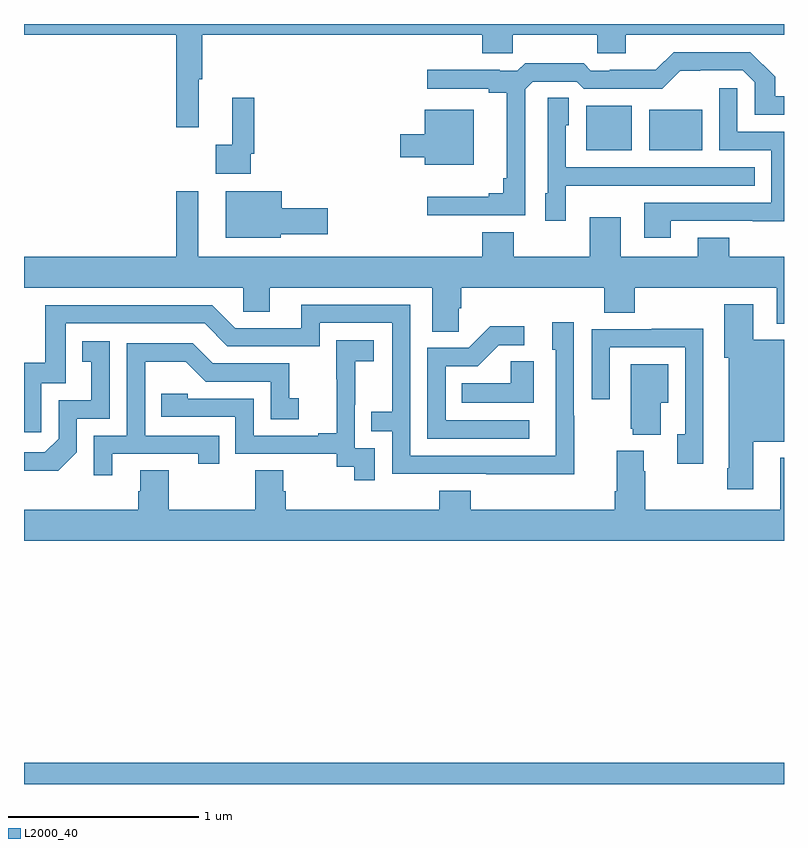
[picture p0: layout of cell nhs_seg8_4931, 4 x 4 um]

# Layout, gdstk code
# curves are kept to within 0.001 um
import gdstk
lib = gdstk.Library(unit=1e-6, precision=1e-09)
def R(c, l, rs):  # rectangles x0, y0, x1, y1
    for r in rs: c.add(gdstk.rectangle(r[:2], r[2:], *l))
def P(c, l, *ps):  # polygons
    for p in ps: c.add(gdstk.Polygon(p, *l))
L2000_40 = (2000, 40)

nhs_seg8_4931 = lib.new_cell('nhs_seg8_4931')
R(nhs_seg8_4931, L2000_40, [(409,1101.9,413,1102.012), (411.959,1105.235,412.198,1105.471), (412.292,1105.235,412.57,1105.45)])
P(nhs_seg8_4931, L2000_40, [(409.919,1105.608),(409.937,1105.608),(409.937,1105.844),(411.413,1105.844),(411.413,1105.746),(411.573,1105.746),(411.573,1105.844),(412.018,1105.844),(412.018,1105.746),(412.168,1105.746),(412.168,1105.844),(413,1105.844),(413,1105.9),(409,1105.9),(409,1105.844),(409.801,1105.844),(409.801,1105.356),(409.919,1105.356)],
  [(411.639,1105.557),(411.678,1105.596),(411.909,1105.596),(411.945,1105.56),(412.359,1105.56),(412.454,1105.655),(412.782,1105.656),(412.845,1105.593),(412.845,1105.422),(413,1105.422),(413,1105.519),(412.953,1105.519),(412.953,1105.622),(412.822,1105.752),(412.419,1105.752),(412.325,1105.658),(412.084,1105.658),(412.084,1105.653),(411.984,1105.653),(411.945,1105.693),(411.637,1105.693),(411.597,1105.653),(411.503,1105.653),(411.503,1105.658),(411.123,1105.658),(411.123,1105.56),(411.446,1105.56),(411.446,1105.538),(411.542,1105.538),(411.542,1105.087),(411.523,1105.087),(411.523,1105.01),(411.446,1105.01),(411.446,1104.991),(411.123,1104.991),(411.123,1104.894),(411.639,1104.894)],
  [(412.405,1104.864),(412.835,1104.864),(412.835,1104.863),(413,1104.863),(413,1105.332),(412.755,1105.332),(412.755,1105.561),(412.659,1105.561),(412.659,1105.236),(412.932,1105.236),(412.932,1104.96),(412.265,1104.96),(412.265,1104.774),(412.405,1104.774)],
  [(410.193,1105.216),(410.213,1105.216),(410.213,1105.513),(410.096,1105.513),(410.096,1105.265),(410.01,1105.265),(410.01,1105.112),(410.193,1105.112)],
  [(411.852,1105.049),(412.169,1105.049),(412.169,1105.05),(412.847,1105.05),(412.847,1105.146),(411.852,1105.146),(411.852,1105.368),(411.868,1105.368),(411.868,1105.511),(411.756,1105.511),(411.756,1105.008),(411.743,1105.008),(411.743,1104.864),(411.852,1104.864)],
  [(411.367,1105.45),(411.11,1105.45),(411.11,1105.321),(410.979,1105.321),(410.979,1105.199),(411.11,1105.199),(411.11,1105.16),(411.367,1105.16)],
  [(411.288,1104.403),(411.302,1104.403),(411.302,1104.512),(412.055,1104.512),(412.055,1104.379),(412.215,1104.379),(412.215,1104.512),(412.961,1104.512),(412.961,1104.322),(413,1104.322),(413,1104.676),(412.711,1104.676),(412.711,1104.775),(412.547,1104.775),(412.547,1104.676),(412.141,1104.676),(412.141,1104.883),(411.977,1104.883),(411.977,1104.676),(411.577,1104.676),(411.577,1104.805),(411.413,1104.805),(411.413,1104.676),(409.918,1104.676),(409.918,1105.021),(409.801,1105.021),(409.801,1104.676),(409,1104.676),(409,1104.512),(410.154,1104.512),(410.154,1104.385),(410.293,1104.385),(410.293,1104.512),(411.149,1104.512),(411.149,1104.28),(411.288,1104.28)],
  [(410.352,1104.794),(410.599,1104.794),(410.599,1104.929),(410.356,1104.929),(410.356,1105.021),(410.063,1105.021),(410.063,1104.776),(410.352,1104.776)],
  [(412.837,1103.702),(413,1103.702),(413,1104.237),(412.837,1104.237),(412.837,1104.424),(412.685,1104.424),(412.685,1104.144),(412.709,1104.144),(412.709,1103.563),(412.702,1103.563),(412.702,1103.451),(412.837,1103.451)],
  [(411.897,1103.837),(411.894,1103.837),(411.894,1104.331),(411.779,1104.331),(411.779,1104.186),(411.798,1104.186),(411.798,1103.628),(411.033,1103.628),(411.033,1104.423),(410.459,1104.423),(410.459,1104.3),(410.112,1104.3),(409.992,1104.42),(409.113,1104.42),(409.113,1104.118),(409,1104.118),(409,1103.751),(409.092,1103.751),(409.092,1104.009),(409.221,1104.009),(409.221,1104.324),(409.95,1104.324),(410.07,1104.204),(410.556,1104.204),(410.556,1104.327),(410.937,1104.327),(410.937,1103.858),(410.827,1103.858),(410.827,1103.757),(410.937,1103.757),(410.937,1103.532),(411.897,1103.531)],
  [(411.658,1103.814),(411.219,1103.814),(411.219,1104.099),(411.388,1104.099),(411.499,1104.21),(411.634,1104.21),(411.634,1104.308),(411.455,1104.308),(411.342,1104.195),(411.123,1104.195),(411.123,1103.718),(411.658,1103.718)],
  [(412.576,1104.044),(412.575,1104.044),(412.575,1104.296),(412.303,1104.296),(412.303,1104.294),(411.987,1104.294),(411.987,1103.925),(412.083,1103.925),(412.083,1104.198),(412.479,1104.198),(412.479,1103.742),(412.439,1103.742),(412.439,1103.586),(412.576,1103.586)],
  [(410.847,1103.667),(410.742,1103.667),(410.742,1103.897),(410.744,1103.897),(410.744,1104.125),(410.842,1104.125),(410.842,1104.235),(410.644,1104.235),(410.644,1104.029),(410.645,1104.029),(410.645,1103.746),(410.549,1103.746),(410.549,1103.733),(410.208,1103.733),(410.208,1103.928),(409.863,1103.928),(409.863,1103.955),(409.723,1103.955),(409.723,1103.832),(410.112,1103.832),(410.112,1103.637),(410.646,1103.637),(410.646,1103.569),(410.739,1103.569),(410.739,1103.499),(410.847,1103.499)],
  [(409.278,1103.646),(409.278,1103.823),(409.452,1103.823),(409.452,1104.229),(409.306,1104.229),(409.306,1104.123),(409.355,1104.123),(409.355,1103.919),(409.182,1103.919),(409.182,1103.718),(409.11,1103.646),(409,1103.646),(409,1103.549),(409.18,1103.549)],
  [(409.465,1103.637),(409.916,1103.637),(409.916,1103.586),(410.027,1103.586),(410.027,1103.733),(409.638,1103.733),(409.638,1104.122),(409.852,1104.122),(409.956,1104.018),(410.298,1104.018),(410.298,1103.82),(410.446,1103.82),(410.446,1103.929),(410.397,1103.929),(410.397,1104.114),(409.993,1104.114),(409.888,1104.219),(409.542,1104.219),(409.542,1103.733),(409.368,1103.733),(409.368,1103.526),(409.465,1103.526)],
  [(411.682,1104.125),(411.561,1104.125),(411.561,1104.01),(411.304,1104.01),(411.304,1103.906),(411.682,1103.906)],
  [(412.351,1103.906),(412.39,1103.906),(412.39,1104.109),(412.193,1104.109),(412.193,1103.769),(412.205,1103.769),(412.205,1103.738),(412.351,1103.738)],
  [(413,1103.617),(412.979,1103.617),(412.979,1103.344),(412.269,1103.344),(412.269,1103.546),(412.261,1103.546),(412.261,1103.653),(412.121,1103.653),(412.121,1103.44),(412.109,1103.44),(412.109,1103.344),(411.35,1103.344),(411.35,1103.443),(411.185,1103.443),(411.185,1103.344),(410.378,1103.344),(410.378,1103.442),(410.365,1103.442),(410.365,1103.552),(410.218,1103.552),(410.218,1103.344),(409.761,1103.344),(409.761,1103.552),(409.613,1103.552),(409.613,1103.442),(409.601,1103.442),(409.601,1103.344),(409,1103.344),(409,1103.18),(413,1103.18)])

lib.write_gds('nhs_seg8_4931.gds')
